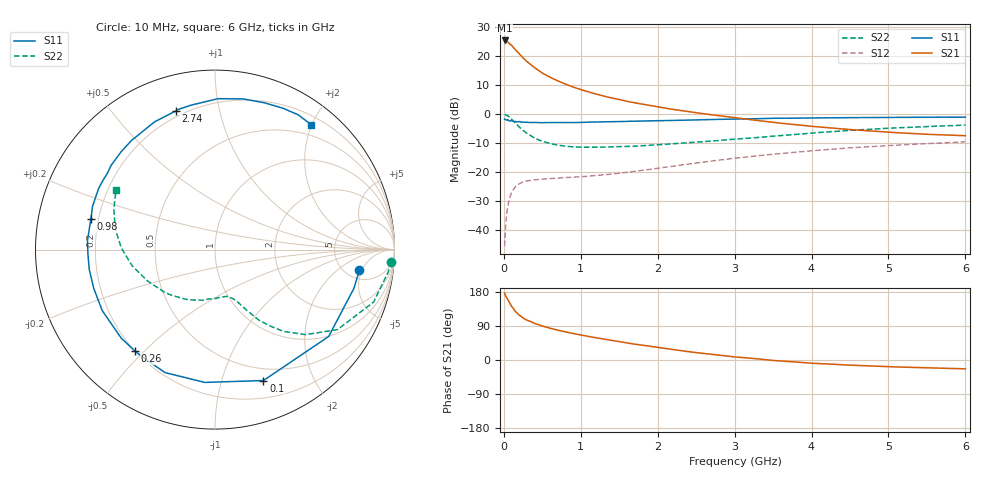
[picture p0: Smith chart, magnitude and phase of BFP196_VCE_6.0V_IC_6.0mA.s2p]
! Infineon Technologies  Discrete & RF Semiconductors
! BFP196
! VCE = 6.0 V,  IC = 6.0mA
! Common Emitter S-Parameters:  Jan 2016
# GHz  S  MA  R  50
!  f  S11  S21  S12  S22
! GHz  MAG  ANG  MAG  ANG  MAG  ANG  MAG  ANG
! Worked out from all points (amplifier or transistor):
!   210 points, 10 MHz to 6 GHz, reference 50 ohm
!   highest |S21| = 25.3 dB at 10 MHz (marker M1)
!   |S21| within 3 dB of that: start of sweep to 144.1 MHz
!   unconditionally stable (mu >= 1): 1.089 GHz to 3.342 GHz
!   at 185 MHz: K = 0.22, MSG = 22.7 dB, |S12| = -24.3 dB
!   at 1.52 GHz: K = 1.17, MAG = 10.1 dB, |S12| = -20.3 dB
!   at 6 GHz: K = 0.98, MSG = 1.1 dB, |S12| = -9.6 dB
!   S11 on the Smith chart (normalised r, x): 10 MHz: 6.62, -4.46; 100 MHz: 0.37, -1.37; 260 MHz: 0.20, -0.47; 980 MHz: 0.17, +0.12; 2.74 GHz: 0.17, +0.74; 6 GHz: 0.33, +1.99
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0.01  0.8127 -8.1  18.37 176.6  0.0053 86.6  0.9832 -3.9
0.02  0.8034 -15.6  18.04 171.0  0.0104 81.0  0.9725 -7.5
0.05  0.7972 -37.4  17.37 159.2  0.0256 71.4  0.9308 -18.3
0.1  0.7777 -69.7  15.18 141.8  0.045 56.8  0.8155 -33.1
0.15  0.7422 -94.4  12.76 128.0  0.0563 46.1  0.6932 -43.1
0.2  0.7396 -112.1  10.84 118.3  0.0628 39.1  0.5953 -50.0
0.24  0.7224 -123.3  9.487 112.4  0.0667 35.0  0.5337 -53.6
0.26  0.7198 -128.3  8.92 109.7  0.0682 33.4  0.5074 -55.2
0.3  0.7185 -136.6  7.964 105.0  0.0704 31.0  0.4628 -58.1
0.4  0.7144 -151.6  6.239 96.5  0.0733 27.2  0.3831 -62.3
0.5  0.7092 -162.2  5.054 89.6  0.0754 25.4  0.3372 -65.1
0.6  0.7094 -171.0  4.277 83.8  0.0774 25.0  0.3096 -67.4
0.7  0.7085 -178.3  3.708 78.6  0.0785 25.2  0.2906 -69.9
0.98  0.7122 166.3  2.672 66.8  0.0827 27.7  0.2683 -76.6
1.02  0.7151 164.3  2.571 65.2  0.0833 28.2  0.2677 -77.6
1.4  0.7336 148.3  1.881 51.7  0.092 33.0  0.2718 -88.3
2.02  0.7656 127.0  1.307 32.7  0.1167 39.2  0.2949 -107.8
2.74  0.8027 105.9  0.952 14.1  0.1566 39.4  0.3446 -131.3
3.1  0.8182 97.5  0.83 6.5  0.1788 36.9  0.3749 -143.1
4.1  0.8545 77.8  0.597 -9.4  0.2372 27.4  0.4787 -171.5
5.1  0.8748 63.2  0.476 -18.3  0.2901 15.4  0.574 166.2
6  0.8786 52.4  0.422 -23.3  0.3305 4.2  0.6429 149.1
